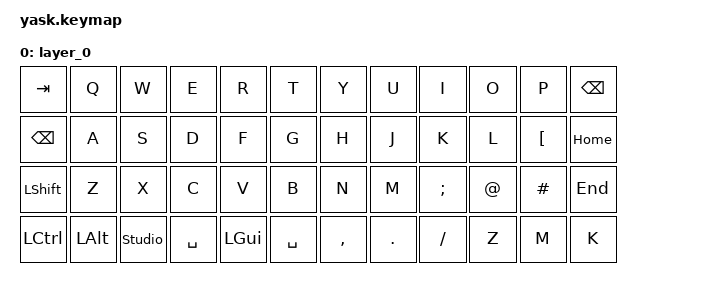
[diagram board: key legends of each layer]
#include <behaviors.dtsi>
#include <dt-bindings/zmk/keys.h>

/ {
    keymap {
        compatible = "zmk,keymap";

        sensor-bindings = <&inc_dec_kp C_VOL_UP C_VOL_DN>;

        layer_0 { // Layer 0
            bindings = <
                &kp TAB    &kp Q    &kp W    &kp E    &kp R    &kp T    &kp Y    &kp U    &kp I    &kp O    &kp P    &kp BSPC
                &kp BSPC    &kp A    &kp S    &kp D    &kp F    &kp G    &kp H    &kp J    &kp K    &kp L    &kp LBKT    &kp HOME
                &kp LSHFT    &kp Z    &kp X    &kp C    &kp V    &kp B    &kp N    &kp M    &kp SEMI    &kp AT    &kp HASH    &kp END
                &kp LCTRL    &kp LALT    &studio_unlock    &kp SPACE    &kp LGUI    &kp SPACE    &kp COMMA    &kp DOT    &kp FSLH    &kp Z    &kp M    &kp K
            >;
        };
    };
};
